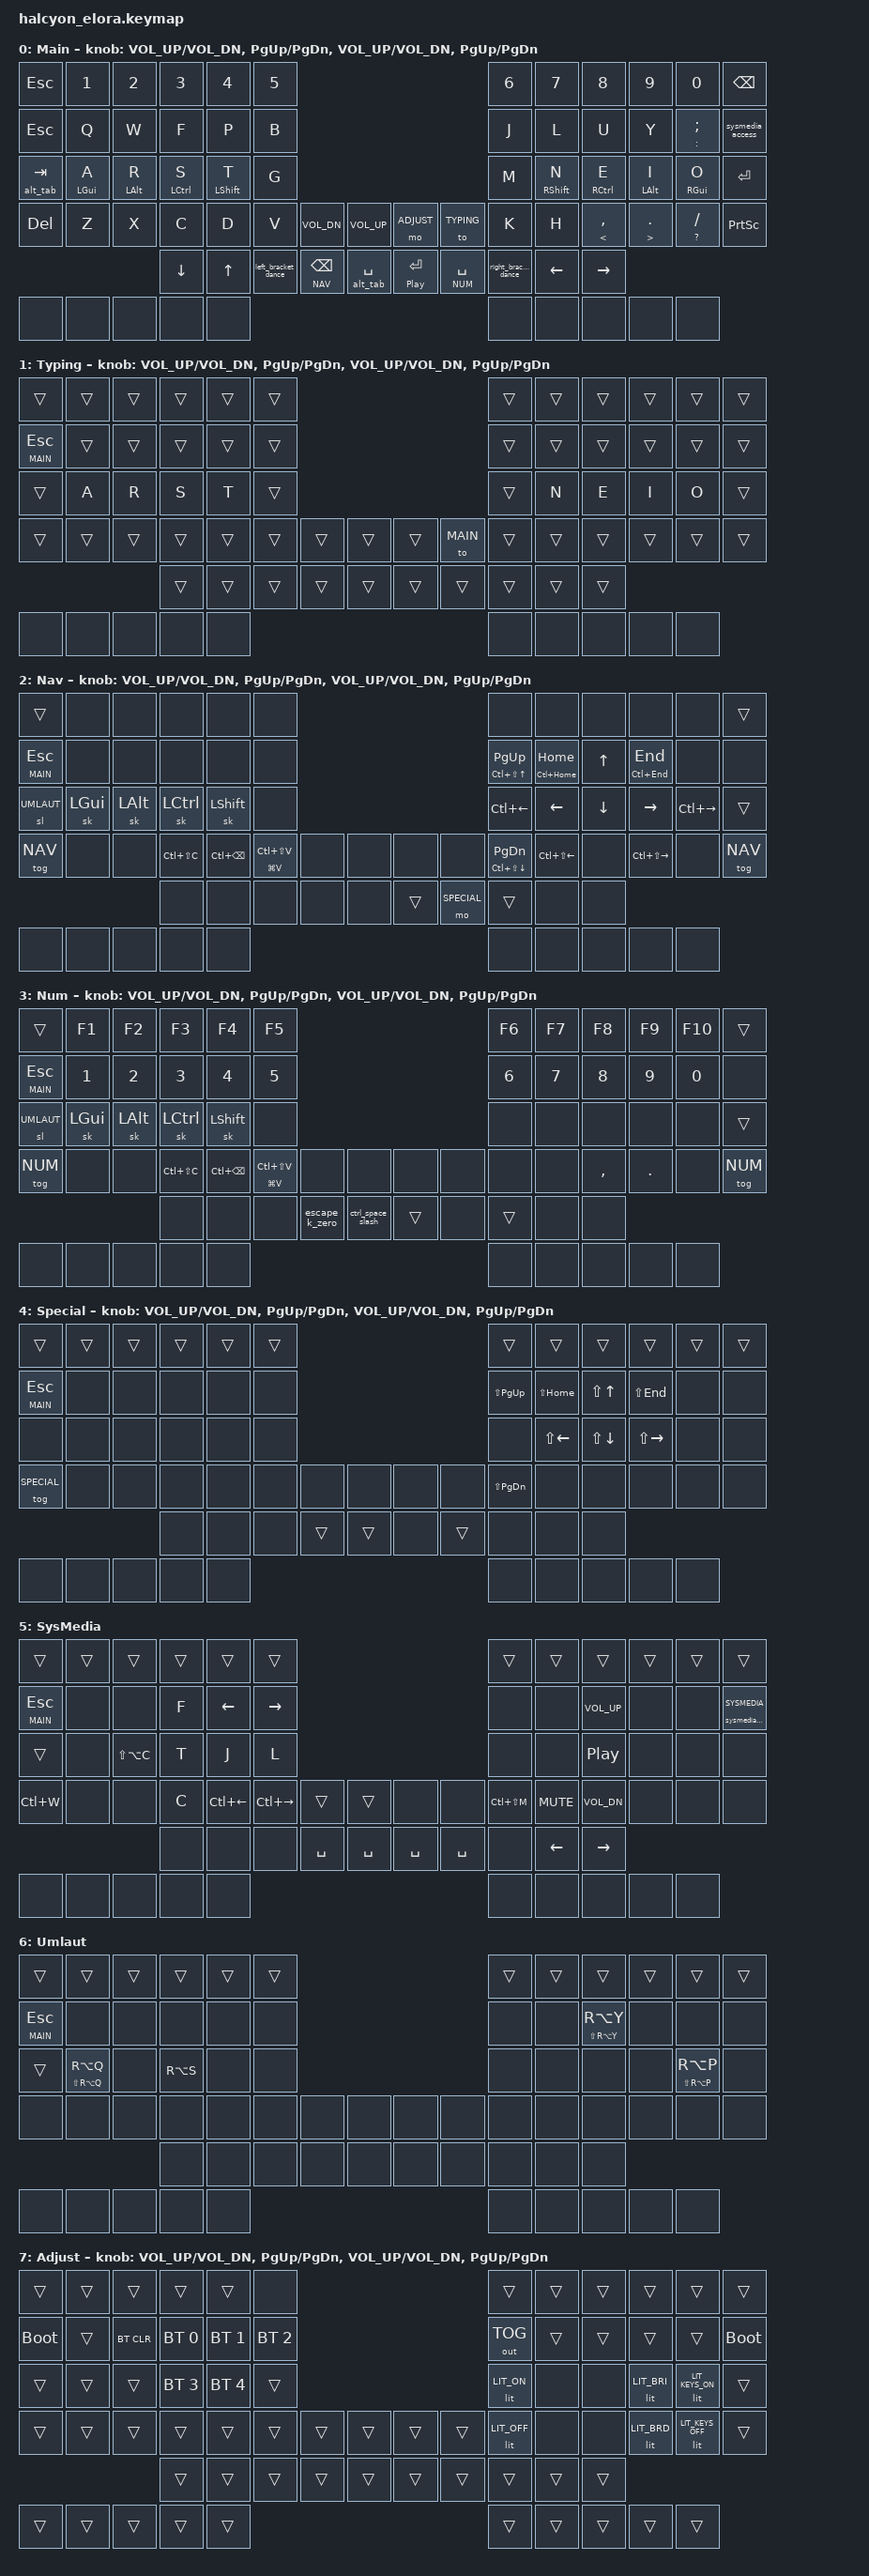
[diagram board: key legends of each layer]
/*
 * Based on SplitKB's Halcyon Elora keymap.
 * Copyright (c) 2023 The ZMK Contributors
 * Copyright (c) 2026 Splitkb.com
 *
 * SPDX-License-Identifier: MIT
 */

#include <behaviors.dtsi>
#include <behaviors/elora_lighting.dtsi>
#include <dt-bindings/elora/lighting.h>
#include <dt-bindings/zmk/bt.h>
#include <dt-bindings/zmk/keys.h>
#include <dt-bindings/zmk/outputs.h>

#define MAIN     0
#define TYPING   1
#define NAV      2
#define NUM      3
#define SPECIAL  4
#define SYSMEDIA 5
#define UMLAUT   6
#define ADJUST   7

// The Elora's first row adds twelve switches. All other switch positions
// follow the Kyria's physical order, not the Vial export's JSON row order.

// Elora positions 0-61 are switches; 62-71 are unused module inputs.
// KEYS_L/KEYS_R list each half's switch positions; either thumb cluster may
// trigger either hand's home-row hold.
#define KEYS_L   0 1 2 3 4 5 12 13 14 15 16 17 24 25 26 27 28 29 36 37 38 39 40 41 42 43
#define KEYS_R   6 7 8 9 10 11 18 19 20 21 22 23 30 31 32 33 34 35 44 45 46 47 48 49 50 51
#define THUMBS_L 52 53 54 55 56
#define THUMBS_R 57 58 59 60 61

// Lighting colors as 0xRRGGBB at full scale; brightness scales them.
// Underglow per layer:
#define GLOW_MAIN     0x000000 // off
#define GLOW_TYPING   0x806040 // dim warm white
#define GLOW_NAV      0x00ffff // cyan
#define GLOW_NUM      0x0000ff // blue
#define GLOW_SPECIAL  0x00ff00 // green
#define GLOW_SYSMEDIA 0xff8000 // amber
#define GLOW_UMLAUT   0x8000ff // violet
#define GLOW_ADJUST   0xff0000 // red
// Key roles: one hue per meaning, the same on every layer. Main has no roles
// and stays dark. Layer-access keys all use ROLE_LAYER, not the underglow
// color of the layer they open.
#define ROLE_NAV_NEAR      0x00ffff // cyan: arrows, word-wise arrows, short selections
#define ROLE_NAV_FAR       0x0000ff // blue: page, line, and document jumps; wide selections; seek
#define ROLE_MODIFIER      0xffc000 // yellow: sticky modifiers
#define ROLE_NUMBER        0xc0c0c0 // neutral white: digits, comma, and dot
#define ROLE_NUMBER_FN     0x80a0ff // cool white: F-keys, a tinted variant of the number white
#define ROLE_SYMBOL        0x8000ff // violet: symbols and umlauts (other symbols come from combos)
#define ROLE_MACRO         0xff00ff // magenta: macros, clipboard, and other key combinations
#define ROLE_MEDIA         0x00ff00 // green: volume, mute, play/pause, space
#define ROLE_LAYER         0xff6000 // orange: layer switches and Adjust settings
#define ROLE_DESTRUCTIVE   0xff0000 // red: cancel, quit, close, delete, bootloader, Bluetooth clear

/ {
  // Underglow color per layer, in layer ID order. Main stays dark, and so do
  // the keys-replace-underglow layers while key colors are on.
  // Each child gives keys on one layer a role color; every other key stays
  // dark, and &trans keys show the next active layer's role.
  elora_lighting {
    compatible = "elora,lighting";
    layer-colors = <GLOW_MAIN GLOW_TYPING GLOW_NAV GLOW_NUM GLOW_SPECIAL
                    GLOW_SYSMEDIA GLOW_UMLAUT GLOW_ADJUST>;
    keys-replace-underglow = <NAV NUM SPECIAL SYSMEDIA UMLAUT ADJUST>;

    nav_arrows { layer = <NAV>; color = <ROLE_NAV_NEAR>; positions = <20 31 32 33>; };
    nav_words { layer = <NAV>; color = <ROLE_NAV_NEAR>; positions = <30 34>; };
    nav_jumps { layer = <NAV>; color = <ROLE_NAV_FAR>; positions = <18 19 21 46 47 49>; };
    nav_modifiers { layer = <NAV>; color = <ROLE_MODIFIER>; positions = <25 26 27 28>; };
    nav_macros { layer = <NAV>; color = <ROLE_MACRO>; positions = <39 41>; };
    nav_delete { layer = <NAV>; color = <ROLE_DESTRUCTIVE>; positions = <40>; };
    nav_layers { layer = <NAV>; color = <ROLE_LAYER>; positions = <12 24 36 51 58>; };

    num_digits { layer = <NUM>; color = <ROLE_NUMBER>; positions = <13 14 15 16 17 18 19 20 21 22 48 49>; };
    num_functions { layer = <NUM>; color = <ROLE_NUMBER_FN>; positions = <1 2 3 4 5 6 7 8 9 10>; };
    num_modifiers { layer = <NUM>; color = <ROLE_MODIFIER>; positions = <25 26 27 28>; };
    num_macros { layer = <NUM>; color = <ROLE_MACRO>; positions = <39 41 55 56>; };
    num_delete { layer = <NUM>; color = <ROLE_DESTRUCTIVE>; positions = <40>; };
    num_layers { layer = <NUM>; color = <ROLE_LAYER>; positions = <12 24 36 51>; };

    special_near { layer = <SPECIAL>; color = <ROLE_NAV_NEAR>; positions = <20 31 32 33>; };
    special_far { layer = <SPECIAL>; color = <ROLE_NAV_FAR>; positions = <18 19 21 46>; };
    special_layers { layer = <SPECIAL>; color = <ROLE_LAYER>; positions = <12 36>; };

    sysmedia_media { layer = <SYSMEDIA>; color = <ROLE_MEDIA>; positions = <20 32 47 48 55 56 57 58>; };
    sysmedia_seek { layer = <SYSMEDIA>; color = <ROLE_NAV_FAR>; positions = <16 17 28 29 40 41 60 61>; };
    sysmedia_macros { layer = <SYSMEDIA>; color = <ROLE_MACRO>; positions = <15 26 27 39 46>; };
    sysmedia_close { layer = <SYSMEDIA>; color = <ROLE_DESTRUCTIVE>; positions = <36>; };
    sysmedia_layers { layer = <SYSMEDIA>; color = <ROLE_LAYER>; positions = <12 23>; };

    umlaut_letters { layer = <UMLAUT>; color = <ROLE_SYMBOL>; positions = <20 25 27 34>; };
    umlaut_layers { layer = <UMLAUT>; color = <ROLE_LAYER>; positions = <12>; };

    adjust_settings { layer = <ADJUST>; color = <ROLE_LAYER>; positions = <15 16 17 18 27 28 30 33 34 46 49 50>; };
    adjust_system { layer = <ADJUST>; color = <ROLE_DESTRUCTIVE>; positions = <12 14 23>; };
  };

  behaviors {
    escape_main: escape_main {
      compatible = "zmk,behavior-hold-tap";
      #binding-cells = <2>;
      tapping-term-ms = <200>;
      flavor = "hold-preferred";
      bindings = <&to>, <&kp>;
    };

    punctuation_hold_tap: punctuation_hold_tap {
      compatible = "zmk,behavior-hold-tap";
      #binding-cells = <2>;
      tapping-term-ms = <160>;
      flavor = "tap-preferred";
      bindings = <&kp>, <&kp>;
    };

    paste_hold_tap: paste_hold_tap {
      compatible = "zmk,behavior-hold-tap";
      #binding-cells = <2>;
      tapping-term-ms = <160>;
      flavor = "tap-preferred";
      bindings = <&kp>, <&kp>;
    };

    // Autoshift AltGr umlauts: tap lowercase, hold for shifted uppercase.
    umlaut_autoshift: umlaut_autoshift {
      compatible = "zmk,behavior-hold-tap";
      #binding-cells = <2>;
      tapping-term-ms = <180>;
      quick-tap-ms = <0>;
      flavor = "tap-preferred";
      bindings = <&kp>, <&kp>;
    };

    // Nav jumps: the first parameter is the hold, the second the tap.
    nav_hold_tap: nav_hold_tap {
      compatible = "zmk,behavior-hold-tap";
      #binding-cells = <2>;
      tapping-term-ms = <200>;
      flavor = "tap-preferred";
      bindings = <&kp>, <&kp>;
    };

    repeat_tap_mo: repeat_tap_mo {
      compatible = "zmk,behavior-hold-tap";
      #binding-cells = <2>;
      tapping-term-ms = <200>;
      quick-tap-ms = <200>;
      flavor = "tap-preferred";
      bindings = <&mo>, <&kp>;
    };

    // Single tap/hold keeps sticky-layer access; a double tap locks the layer.
    sysmedia_access: sysmedia_access {
      compatible = "zmk,behavior-tap-dance";
      #binding-cells = <0>;
      tapping-term-ms = <200>;
      bindings = <&sl SYSMEDIA>, <&tog SYSMEDIA>;
    };

    // Brackets: tap ( or ), hold [ or ], double tap { or }.
    // The hold-tap's first parameter is the hold, the second the tap.
    left_bracket_dance: left_bracket_dance {
      compatible = "zmk,behavior-tap-dance";
      #binding-cells = <0>;
      tapping-term-ms = <200>;
      bindings = <&punctuation_hold_tap LBKT LS(N9)>, <&kp LS(LBKT)>;
    };

    right_bracket_dance: right_bracket_dance {
      compatible = "zmk,behavior-tap-dance";
      #binding-cells = <0>;
      tapping-term-ms = <200>;
      bindings = <&punctuation_hold_tap RBKT LS(N0)>, <&kp LS(RBKT)>;
    };

    // Always exit SysMedia, including its unlocked one-shot state, without
    // clearing the underlying layers. A normal toggle could lock it instead.
    sysmedia_off: sysmedia_off {
      compatible = "zmk,behavior-toggle-layer";
      #binding-cells = <1>;
      toggle-mode = "off";
      locking;
    };

    sk_shift: sticky_shift_quick_release {
      compatible = "zmk,behavior-sticky-key";
      #binding-cells = <1>;
      release-after-ms = <1000>;
      quick-release;
      ignore-modifiers;
      bindings = <&kp>;
    };

    // A home-row hold may be triggered by the opposite hand or either thumb.
    left_hrm: left_home_row_mod {
      compatible = "zmk,behavior-hold-tap";
      #binding-cells = <2>;
      flavor = "balanced";
      tapping-term-ms = <280>;
      quick-tap-ms = <175>;
      require-prior-idle-ms = <150>;
      hold-trigger-key-positions = <KEYS_R THUMBS_L THUMBS_R>;
      hold-trigger-on-release;
      bindings = <&kp>, <&kp>;
    };

    right_hrm: right_home_row_mod {
      compatible = "zmk,behavior-hold-tap";
      #binding-cells = <2>;
      flavor = "balanced";
      tapping-term-ms = <280>;
      quick-tap-ms = <175>;
      require-prior-idle-ms = <150>;
      hold-trigger-key-positions = <KEYS_L THUMBS_L THUMBS_R>;
      hold-trigger-on-release;
      bindings = <&kp>, <&kp>;
    };

    // Hold runs alt_tab; its parameter is unused.
    alt_tab_mt: alt_tab_mod_tap {
      compatible = "zmk,behavior-hold-tap";
      #binding-cells = <2>;
      flavor = "tap-preferred";
      tapping-term-ms = <200>;
      bindings = <&alt_tab>, <&kp>;
    };
  };

  macros {
    // Hold Alt for the whole key hold but tap Tab once, so Tab never
    // autorepeats and Alt is down before Tab arrives.
    alt_tab: alt_tab {
      compatible = "zmk,behavior-macro";
      #binding-cells = <0>;
      wait-ms = <30>;
      tap-ms = <30>;
      bindings
        = <&macro_press &kp LALT>
        , <&macro_tap &kp TAB>
        , <&macro_pause_for_release>
        , <&macro_release &kp LALT>
        ;
    };

    escape_k_zero: escape_k_zero {
      compatible = "zmk,behavior-macro";
      #binding-cells = <0>;
      wait-ms = <100>;
      bindings = <&kp ESC &kp K &kp N0>;
    };

    ctrl_space_slash: ctrl_space_slash {
      compatible = "zmk,behavior-macro";
      #binding-cells = <0>;
      wait-ms = <100>;
      bindings = <&kp LC(SPACE) &kp FSLH>;
    };
  };

  combos {
    compatible = "zmk,combos";
    // Vial combos use keycodes; these are Elora physical positions instead.
    // Typing changes the S home-row mod at position 27.
    combo_delete_word { key-positions = <55 40>; layers = <MAIN TYPING>; bindings = <&kp LC(BSPC)>; };
    combo_ctrl_u { key-positions = <19 20>; layers = <MAIN TYPING>; bindings = <&kp LC(U)>; };
    combo_ctrl_l { key-positions = <19 20 21>; layers = <MAIN TYPING>; bindings = <&kp LC(L)>; };
    combo_caps_word { key-positions = <14 15>; layers = <MAIN TYPING>; bindings = <&caps_word>; };
    combo_plus { key-positions = <41 46>; layers = <MAIN TYPING>; bindings = <&kp LS(EQUAL)>; };
    combo_double_quote { key-positions = <15 20>; layers = <MAIN TYPING>; bindings = <&kp LS(SQT)>; };
    combo_grave { key-positions = <14 21>; layers = <MAIN TYPING>; bindings = <&kp GRAVE>; };
    combo_equal { key-positions = <39 48>; layers = <MAIN TYPING>; bindings = <&kp EQUAL>; };
    combo_pipe { key-positions = <38 49>; layers = <MAIN TYPING>; bindings = <&kp LS(BSLH)>; };
    combo_quote { key-positions = <16 19>; layers = <MAIN TYPING>; bindings = <&kp SQT>; };
    combo_minus { key-positions = <40 47>; layers = <MAIN TYPING>; bindings = <&kp MINUS>; };
    combo_underscore { key-positions = <37 50>; layers = <MAIN TYPING>; bindings = <&kp LS(MINUS)>; };
    combo_backslash { key-positions = <17 18>; layers = <MAIN TYPING>; bindings = <&kp BSLH>; };
    combo_sticky_shift { key-positions = <55 58>; layers = <MAIN TYPING>; bindings = <&sk_shift LSHIFT>; };
    combo_ctrl_r { key-positions = <15 16>; layers = <MAIN TYPING>; bindings = <&kp LC(R)>; };
    combo_tilde { key-positions = <13 22>; layers = <MAIN TYPING>; bindings = <&kp LS(GRAVE)>; };
    combo_exclamation { key-positions = <13 58>; layers = <MAIN TYPING>; bindings = <&kp LS(N1)>; };
    combo_at { key-positions = <14 58>; layers = <MAIN TYPING>; bindings = <&kp LS(N2)>; };
    combo_hash { key-positions = <15 58>; layers = <MAIN TYPING>; bindings = <&kp LS(N3)>; };
    combo_dollar { key-positions = <16 58>; layers = <MAIN TYPING>; bindings = <&kp LS(N4)>; };
    combo_percent { key-positions = <17 58>; layers = <MAIN TYPING>; bindings = <&kp LS(N5)>; };
    combo_caret { key-positions = <18 55>; layers = <MAIN TYPING>; bindings = <&kp LS(N6)>; };
    combo_ampersand { key-positions = <19 55>; layers = <MAIN TYPING>; bindings = <&kp LS(N7)>; };
    combo_asterisk { key-positions = <20 55>; layers = <MAIN TYPING>; bindings = <&kp LS(N8)>; };
    combo_ctrl_space { key-positions = <27 58>; layers = <MAIN>; bindings = <&kp LC(SPACE)>; };
  };

  keymap {
    compatible = "zmk,keymap";

    // Each layer has 62 Elora switches followed by 10 unused module positions.
    main_layer {
      display-name = "Main";
      bindings = <
        &kp ESC   &kp N1 &kp N2 &kp N3 &kp N4 &kp N5                                               &kp N6 &kp N7 &kp N8 &kp N9 &kp N0 &kp BSPC
        &kp ESC   &kp Q  &kp W  &kp F  &kp P  &kp B                                                &kp J  &kp L  &kp U  &kp Y  &punctuation_hold_tap COLON SEMI &sysmedia_access
        &alt_tab_mt 0 TAB   &left_hrm LGUI A &left_hrm LALT R &left_hrm LCTRL S &left_hrm LSHIFT T &kp G   &kp M &right_hrm RSHIFT N &right_hrm RCTRL E &right_hrm LALT I &right_hrm RGUI O &kp RET
        &kp DEL   &kp Z &kp X &kp C &kp D &kp V &kp C_VOL_DN &kp C_VOL_UP   &mo ADJUST &to TYPING    &kp K &kp H &punctuation_hold_tap LESS_THAN COMMA &punctuation_hold_tap GREATER_THAN DOT &punctuation_hold_tap QUESTION FSLH &kp PSCRN
                                &kp DOWN &kp UP &left_bracket_dance &repeat_tap_mo NAV BSPC &alt_tab_mt 0 SPACE      &mt C_PLAY_PAUSE RET &repeat_tap_mo NUM SPACE &right_bracket_dance &kp LEFT &kp RIGHT

        &none &none &none &none &none                                                          &none &none &none &none &none
      >;
      sensor-bindings = <&inc_dec_kp C_VOL_UP C_VOL_DN &inc_dec_kp PG_UP PG_DN &inc_dec_kp C_VOL_UP C_VOL_DN &inc_dec_kp PG_UP PG_DN>;
    };

    typing_layer {
      display-name = "Typing";
      bindings = <
        &trans &trans &trans &trans &trans &trans                                             &trans &trans &trans &trans &trans &trans
        &escape_main MAIN ESC &trans &trans &trans &trans &trans                               &trans &trans &trans &trans &trans &trans
        &trans &kp A &kp R &kp S &kp T &trans                                                &trans &kp N &kp E &kp I &kp O &trans
        &trans &trans &trans &trans &trans &trans &trans &trans       &trans &to MAIN             &trans &trans &trans &trans &trans &trans
                           &trans &trans &trans &trans &trans       &trans &trans &trans &trans &trans

        &none &none &none &none &none                                                         &none &none &none &none &none
      >;
      sensor-bindings = <&inc_dec_kp C_VOL_UP C_VOL_DN &inc_dec_kp PG_UP PG_DN &inc_dec_kp C_VOL_UP C_VOL_DN &inc_dec_kp PG_UP PG_DN>;
    };

    nav_layer {
      display-name = "Nav";
      bindings = <
        &trans &none &none &none &none &none                                                &none &none &none &none &none &trans
        &escape_main MAIN ESC &none &none &none &none &none                               &nav_hold_tap LC(LS(UP)) PAGE_UP &nav_hold_tap LC(HOME) HOME &kp UP_ARROW &nav_hold_tap LC(END) END &none &none
        &sl UMLAUT &sk LGUI &sk LALT &sk LCTRL &sk LSHIFT &none                               &kp LC(LEFT_ARROW) &kp LEFT_ARROW &kp DOWN &kp RIGHT &kp LC(RIGHT_ARROW) &trans
        &tog NAV &none &none &kp LC(LS(C)) &kp LC(BSPC) &paste_hold_tap LG(V) LC(LS(V)) &none &none    &none &none &nav_hold_tap LC(LS(DOWN)) PAGE_DOWN &kp LC(LS(LEFT)) &none &kp LC(LS(RIGHT)) &none &tog NAV
                           &none &none &none &none &none                              &trans &mo SPECIAL &trans &none &none

        &none &none &none &none &none                                                         &none &none &none &none &none
      >;
      sensor-bindings = <&inc_dec_kp C_VOL_UP C_VOL_DN &inc_dec_kp PG_UP PG_DN &inc_dec_kp C_VOL_UP C_VOL_DN &inc_dec_kp PG_UP PG_DN>;
    };

    num_layer {
      display-name = "Num";
      bindings = <
        &trans &kp F1 &kp F2 &kp F3 &kp F4 &kp F5                                              &kp F6 &kp F7 &kp F8 &kp F9 &kp F10 &trans
        &escape_main MAIN ESC &kp N1 &kp N2 &kp N3 &kp N4 &kp N5                              &kp N6 &kp N7 &kp N8 &kp N9 &kp N0 &none
        &sl UMLAUT &sk LGUI &sk LALT &sk LCTRL &sk LSHIFT &none                                  &none &none &none &none &none &trans
        &tog NUM &none &none &kp LC(LS(C)) &kp LC(BSPC) &paste_hold_tap LG(V) LC(LS(V)) &none &none     &none &none &none &none &kp COMMA &kp DOT &none &tog NUM
                           &none &none &none &escape_k_zero &ctrl_space_slash              &trans &none &trans &none &none

        &none &none &none &none &none                                                         &none &none &none &none &none
      >;
      sensor-bindings = <&inc_dec_kp C_VOL_UP C_VOL_DN &inc_dec_kp PG_UP PG_DN &inc_dec_kp C_VOL_UP C_VOL_DN &inc_dec_kp PG_UP PG_DN>;
    };

    special_layer {
      display-name = "Special";
      bindings = <
        &trans &trans &trans &trans &trans &trans                                            &trans &trans &trans &trans &trans &trans
        &escape_main MAIN ESC &none &none &none &none &none                                     &kp LS(PAGE_UP) &kp LS(HOME) &kp LS(UP) &kp LS(END) &none &none
        &none &none &none &none &none &none                                                  &none &kp LS(LEFT) &kp LS(DOWN) &kp LS(RIGHT) &none &none
        &tog SPECIAL &none &none &none &none &none &none &none       &none &none                 &kp LS(PAGE_DOWN) &none &none &none &none &none
                           &none &none &none &trans &trans       &none &trans &none &none &none

        &none &none &none &none &none                                                         &none &none &none &none &none
      >;
      sensor-bindings = <&inc_dec_kp C_VOL_UP C_VOL_DN &inc_dec_kp PG_UP PG_DN &inc_dec_kp C_VOL_UP C_VOL_DN &inc_dec_kp PG_UP PG_DN>;
    };

    sysmedia_layer {
      display-name = "SysMedia";
      bindings = <
        &trans &trans &trans &trans &trans &trans                                            &trans &trans &trans &trans &trans &trans
        &escape_main MAIN ESC &none &none &kp F &kp LEFT &kp RIGHT                             &none &none &kp C_VOL_UP &none &none &sysmedia_off SYSMEDIA
        &trans &none &kp LS(LA(C)) &kp T &kp J &kp L                                         &none &none &kp C_PLAY_PAUSE &none &none &none
        &kp LC(W) &none &none &kp C &kp LC(LEFT) &kp LC(RIGHT) &trans &trans       &none &none &kp LC(LS(M)) &kp C_MUTE &kp C_VOL_DN &none &none &none
                           &none &none &none &kp SPACE &kp SPACE       &kp SPACE &kp SPACE &none &kp LEFT &kp RIGHT

        &none &none &none &none &none                                                         &none &none &none &none &none
      >;
    };

    umlaut_layer {
      display-name = "Umlaut";
      bindings = <
        &trans &trans &trans &trans &trans &trans                                            &trans &trans &trans &trans &trans &trans
        &escape_main MAIN ESC &none &none &none &none &none                                   &none &none &umlaut_autoshift LS(RA(Y)) RA(Y) &none &none &none
        &trans &umlaut_autoshift LS(RA(Q)) RA(Q) &none &kp RA(S) &none &none                &none &none &none &none &umlaut_autoshift LS(RA(P)) RA(P) &none
        &none &none &none &none &none &none &none &none       &none &none                     &none &none &none &none &none &none
                           &none &none &none &none &none       &none &none &none &none &none

        &none &none &none &none &none                                                         &none &none &none &none &none
      >;
    };

    adjust_layer {
      display-name = "Adjust";
      bindings = <
        &trans      &trans &trans     &trans       &trans       &none                                      &trans          &trans          &trans          &trans          &trans          &trans
        &bootloader &trans &bt BT_CLR &bt BT_SEL 0 &bt BT_SEL 1 &bt BT_SEL 2                               &out OUT_TOG    &trans          &trans          &trans          &trans          &bootloader
        &trans      &trans &trans     &bt BT_SEL 3 &bt BT_SEL 4 &trans                                     &lit LIT_ON     &none           &none           &lit LIT_BRI    &lit LIT_KEYS_ON &trans
        &trans      &trans &trans     &trans       &trans       &trans       &trans &trans   &trans &trans &lit LIT_OFF    &none           &none           &lit LIT_BRD    &lit LIT_KEYS_OFF &trans
                                   &trans       &trans       &trans &trans   &trans &trans &trans &trans   &trans          &trans

        &trans &trans &trans &trans &trans                                                                 &trans &trans &trans &trans &trans
      >;
      sensor-bindings = <&inc_dec_kp C_VOL_UP C_VOL_DN &inc_dec_kp PG_UP PG_DN &inc_dec_kp C_VOL_UP C_VOL_DN &inc_dec_kp PG_UP PG_DN>;
    };
  };
};
